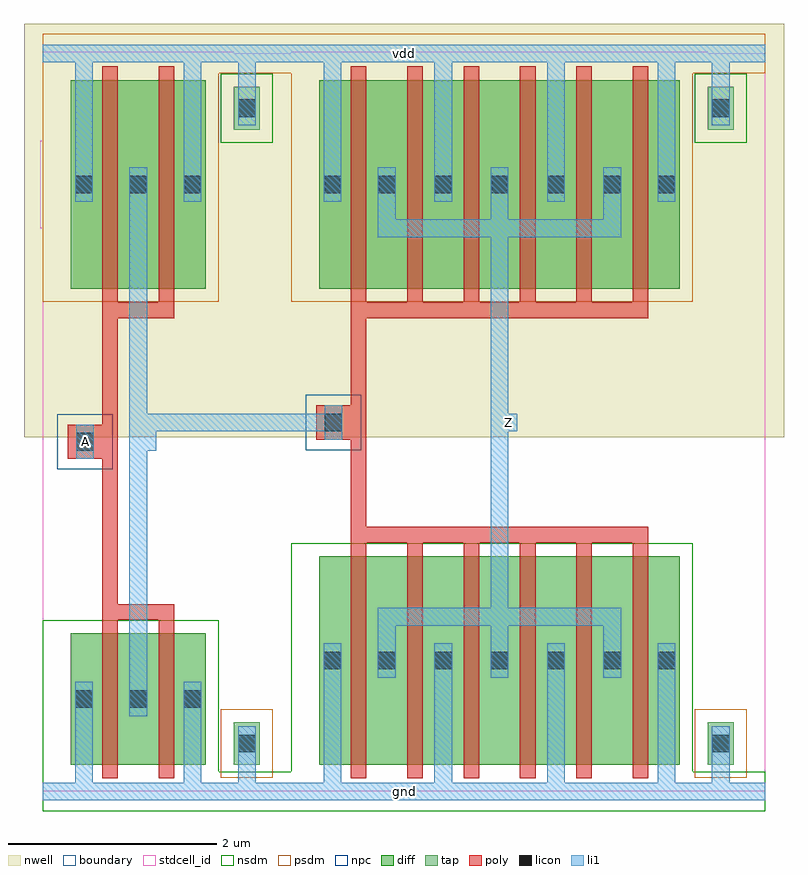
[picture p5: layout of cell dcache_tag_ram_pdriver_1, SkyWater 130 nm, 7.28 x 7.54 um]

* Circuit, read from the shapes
.subckt dcache_tag_ram_pdriver_1 A Z gnd vdd
XM1 dcache_tag_ram_pinv_10_1/A A gnd gnd sky130_fd_pr__nfet_01v8 w=1.26 l=0.15 m=2
XM2 Z dcache_tag_ram_pinv_10_1/A gnd gnd sky130_fd_pr__nfet_01v8 w=2 l=0.15 m=6
XM3 dcache_tag_ram_pinv_10_1/A A vdd vdd sky130_fd_pr__pfet_01v8 w=2 l=0.15 m=2
XM4 Z dcache_tag_ram_pinv_10_1/A vdd vdd sky130_fd_pr__pfet_01v8 w=2 l=0.15 m=6
.ends

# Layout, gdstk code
import gdstk
lib = gdstk.Library(unit=1e-6, precision=1e-09)
def R(c, l, rs):  # rectangles x0, y0, x1, y1
    for r in rs: c.add(gdstk.rectangle(r[:2], r[2:], *l))
def A(c, l, x, y, w, h, nx, ny, dx, dy):  # array of equal rectangles
    R(c, l, [(x+i*dx, y+j*dy, x+i*dx+w, y+j*dy+h) for i in range(nx) for j in range(ny)])
nwell = (64, 20)
diff = (65, 20)
tap = (65, 44)
poly = (66, 20)
licon = (66, 44)
li1 = (67, 20)
stdcell_id = (81, 4)
nsdm = (93, 44)
psdm = (94, 20)
npc = (95, 20)
boundary = (235, 4)

dcache_tag_ram_contact_1 = lib.new_cell('dcache_tag_ram_contact_11')
R(dcache_tag_ram_contact_1, nwell, [(-0.295,-0.255,0.545,0.585)])
R(dcache_tag_ram_contact_1, diff, [(0,0.02,0.25,0.31)])
R(dcache_tag_ram_contact_1, licon, [(0.04,0.08,0.21,0.25)])
R(dcache_tag_ram_contact_1, li1, [(0.04,0,0.21,0.33)])
R(dcache_tag_ram_contact_1, stdcell_id, [(-0.295,-0.255,0.545,0.585)])
R(dcache_tag_ram_contact_1, psdm, [(-0.125,-0.105,0.375,0.435)])
R(dcache_tag_ram_contact_1, boundary, [(-0.295,-0.255,0.545,0.585)])

dcache_tag_ram_pmos_m2_w = lib.new_cell('dcache_tag_ram_pmos_m2_w2_000_sli_dli_da_p')
R(dcache_tag_ram_pmos_m2_w, nwell, [(-0.27,-0.27,1.56,2.27)])
R(dcache_tag_ram_pmos_m2_w, diff, [(0,0,1.29,2)])
R(dcache_tag_ram_pmos_m2_w, poly, [(0.3,-0.28,0.99,-0.13), (0.3,-0.13,0.45,2.13), (0.84,-0.13,0.99,2.13)])
A(dcache_tag_ram_pmos_m2_w, li1, 0.04, 0.835, 0.17, 0.33, 3, 1, 0.52, 0)
R(dcache_tag_ram_pmos_m2_w, stdcell_id, [(-0.27,-0.28,1.56,2.27)])
R(dcache_tag_ram_pmos_m2_w, psdm, [(-0.125,-0.125,1.415,2.125)])
R(dcache_tag_ram_pmos_m2_w, boundary, [(-0.27,-0.28,1.56,2.27)])
dcache_tag_ram_pmos_m2_w.add(gdstk.Reference(dcache_tag_ram_contact_1, (0,0.835)))
dcache_tag_ram_pmos_m2_w.add(gdstk.Reference(dcache_tag_ram_contact_1, (0.52,0.835)))
dcache_tag_ram_pmos_m2_w.add(gdstk.Reference(dcache_tag_ram_contact_1, (1.04,0.835)))
dcache_tag_ram_pmos_m2_w.add(gdstk.Label('G', (0.645,-0.205), layer=66, texttype=5))
dcache_tag_ram_pmos_m2_w.add(gdstk.Label('S', (0.125,1), layer=67, texttype=5))
dcache_tag_ram_pmos_m2_w.add(gdstk.Label('S', (1.165,1), layer=67, texttype=5))
dcache_tag_ram_pmos_m2_w.add(gdstk.Label('D', (0.645,1), layer=67, texttype=5))

c_dcache_tag_ram_contact_1 = lib.new_cell('dcache_tag_ram_contact_10')
R(c_dcache_tag_ram_contact_1, diff, [(0,0.02,0.25,0.31)])
R(c_dcache_tag_ram_contact_1, licon, [(0.04,0.08,0.21,0.25)])
R(c_dcache_tag_ram_contact_1, li1, [(0.04,0,0.21,0.33)])
R(c_dcache_tag_ram_contact_1, stdcell_id, [(-0.125,-0.105,0.375,0.435)])
R(c_dcache_tag_ram_contact_1, nsdm, [(-0.125,-0.105,0.375,0.435)])
R(c_dcache_tag_ram_contact_1, boundary, [(-0.125,-0.105,0.375,0.435)])

dcache_tag_ram_nmos_m2_w = lib.new_cell('dcache_tag_ram_nmos_m2_w1_260_sli_dli_da_p')
R(dcache_tag_ram_nmos_m2_w, diff, [(0,0,1.29,1.26)])
R(dcache_tag_ram_nmos_m2_w, poly, [(0.3,-0.13,0.45,1.39), (0.84,-0.13,0.99,1.39), (0.3,1.39,0.99,1.54)])
A(dcache_tag_ram_nmos_m2_w, li1, 0.04, 0.465, 0.17, 0.33, 3, 1, 0.52, 0)
R(dcache_tag_ram_nmos_m2_w, stdcell_id, [(-0.125,-0.13,1.415,1.54)])
R(dcache_tag_ram_nmos_m2_w, nsdm, [(-0.125,-0.125,1.415,1.385)])
R(dcache_tag_ram_nmos_m2_w, boundary, [(-0.125,-0.13,1.415,1.54)])
dcache_tag_ram_nmos_m2_w.add(gdstk.Reference(c_dcache_tag_ram_contact_1, (0,0.465)))
dcache_tag_ram_nmos_m2_w.add(gdstk.Reference(c_dcache_tag_ram_contact_1, (0.52,0.465)))
dcache_tag_ram_nmos_m2_w.add(gdstk.Reference(c_dcache_tag_ram_contact_1, (1.04,0.465)))
dcache_tag_ram_nmos_m2_w.add(gdstk.Label('G', (0.645,1.465), layer=66, texttype=5))
dcache_tag_ram_nmos_m2_w.add(gdstk.Label('S', (1.165,0.63), layer=67, texttype=5))
dcache_tag_ram_nmos_m2_w.add(gdstk.Label('S', (0.125,0.63), layer=67, texttype=5))
dcache_tag_ram_nmos_m2_w.add(gdstk.Label('D', (0.645,0.63), layer=67, texttype=5))

dcache_tag_ram_contact_2 = lib.new_cell('dcache_tag_ram_contact_24')
R(dcache_tag_ram_contact_2, nwell, [(-0.295,-0.215,0.545,0.625)])
R(dcache_tag_ram_contact_2, tap, [(0,0,0.25,0.41)])
R(dcache_tag_ram_contact_2, licon, [(0.04,0.12,0.21,0.29)])
R(dcache_tag_ram_contact_2, li1, [(0.04,0.04,0.21,0.37)])
R(dcache_tag_ram_contact_2, stdcell_id, [(-0.295,-0.215,0.545,0.625)])
R(dcache_tag_ram_contact_2, nsdm, [(-0.125,-0.125,0.375,0.535)])
R(dcache_tag_ram_contact_2, boundary, [(-0.295,-0.215,0.545,0.625)])

c_dcache_tag_ram_contact_2 = lib.new_cell('dcache_tag_ram_contact_25')
R(c_dcache_tag_ram_contact_2, tap, [(0,0,0.25,0.41)])
R(c_dcache_tag_ram_contact_2, licon, [(0.04,0.12,0.21,0.29)])
R(c_dcache_tag_ram_contact_2, li1, [(0.04,0.04,0.21,0.37)])
R(c_dcache_tag_ram_contact_2, stdcell_id, [(-0.125,-0.125,0.375,0.535)])
R(c_dcache_tag_ram_contact_2, psdm, [(-0.125,-0.125,0.375,0.535)])
R(c_dcache_tag_ram_contact_2, boundary, [(-0.125,-0.125,0.375,0.535)])

c_dcache_tag_ram_contact_1_ = lib.new_cell('dcache_tag_ram_contact_15')
R(c_dcache_tag_ram_contact_1_, poly, [(0,0,0.33,0.33)])
R(c_dcache_tag_ram_contact_1_, licon, [(0.08,0.08,0.25,0.25)])
R(c_dcache_tag_ram_contact_1_, li1, [(0.08,0,0.25,0.33)])
R(c_dcache_tag_ram_contact_1_, stdcell_id, [(-0.1,-0.1,0.43,0.43)])
R(c_dcache_tag_ram_contact_1_, npc, [(-0.1,-0.1,0.43,0.43)])
R(c_dcache_tag_ram_contact_1_, boundary, [(-0.1,-0.1,0.43,0.43)])

dcache_tag_ram_pinv_9 = lib.new_cell('dcache_tag_ram_pinv_9')
R(dcache_tag_ram_pinv_9, nwell, [(-0.18,3.395,2.56,7.355)])
R(dcache_tag_ram_pinv_9, poly, [(0.57,1.795,0.72,4.535), (0.405,3.185,0.57,3.515)])
R(dcache_tag_ram_pinv_9, li1, [(0,-0.085,2.38,0.085), (0.31,-0.085,0.48,0.72), (1.35,-0.085,1.52,0.72), (1.87,0,2.04,0.46), (0.83,0.72,1,5.98), (0.32,3.185,0.49,3.515), (0.915,3.265,1.085,3.435), (0.31,5.65,0.48,7.155), (1.35,5.65,1.52,7.155), (1.87,6.545,2.04,7.07), (0,6.985,2.38,7.155)])
R(dcache_tag_ram_pinv_9, stdcell_id, [(0,0,2.38,7.07), (0,0,2.38,7.07)])
R(dcache_tag_ram_pinv_9, nsdm, [(0,-0.19,2.38,0.19), (0,0,1.685,1.64)])
R(dcache_tag_ram_pinv_9, psdm, [(0,4.69,1.685,7.07), (0,6.88,2.38,7.26)])
R(dcache_tag_ram_pinv_9, boundary, [(0,0,2.38,7.07), (0,0,2.38,7.07)])
dcache_tag_ram_pinv_9.add(gdstk.Reference(dcache_tag_ram_pmos_m2_w, (0.27,4.815)))
dcache_tag_ram_pinv_9.add(gdstk.Reference(dcache_tag_ram_nmos_m2_w, (0.27,0.255)))
dcache_tag_ram_pinv_9.add(gdstk.Reference(dcache_tag_ram_contact_2, (1.83,6.34)))
dcache_tag_ram_pinv_9.add(gdstk.Reference(c_dcache_tag_ram_contact_2, (1.83,0.255)))
dcache_tag_ram_pinv_9.add(gdstk.Reference(c_dcache_tag_ram_contact_1_, (0.24,3.185)))
dcache_tag_ram_pinv_9.add(gdstk.Label('A', (0.405,3.35), layer=67, texttype=5))
dcache_tag_ram_pinv_9.add(gdstk.Label('Z', (1,3.35), layer=67, texttype=5))
dcache_tag_ram_pinv_9.add(gdstk.Label('gnd', (1.19,0), layer=67, texttype=5))
dcache_tag_ram_pinv_9.add(gdstk.Label('vdd', (1.19,7.07), layer=67, texttype=5))

dcache_tag_ram_pmos_m6_w = lib.new_cell('dcache_tag_ram_pmos_m6_w2_000_sli_dli_da_p')
R(dcache_tag_ram_pmos_m6_w, nwell, [(-0.27,-0.27,3.72,2.27)])
R(dcache_tag_ram_pmos_m6_w, diff, [(0,0,3.45,2)])
A(dcache_tag_ram_pmos_m6_w, poly, 0.3, -0.13, 0.15, 2.26, 6, 1, 0.54, 0)
R(dcache_tag_ram_pmos_m6_w, poly, [(0.3,-0.28,3.15,-0.13)])
A(dcache_tag_ram_pmos_m6_w, li1, 0.56, 0.58, 0.17, 0.42, 3, 1, 1.08, 0)
R(dcache_tag_ram_pmos_m6_w, li1, [(0.56,0.495,2.89,0.665), (0.04,0.835,0.21,1.165), (1.1,0.835,1.27,1.165), (2.18,0.835,2.35,1.165), (3.24,0.835,3.41,1.165)])
R(dcache_tag_ram_pmos_m6_w, stdcell_id, [(-0.27,-0.28,3.72,2.27)])
R(dcache_tag_ram_pmos_m6_w, psdm, [(-0.125,-0.125,3.575,2.125)])
R(dcache_tag_ram_pmos_m6_w, boundary, [(-0.27,-0.28,3.72,2.27)])
dcache_tag_ram_pmos_m6_w.add(gdstk.Reference(dcache_tag_ram_contact_1, (0,0.835)))
dcache_tag_ram_pmos_m6_w.add(gdstk.Reference(dcache_tag_ram_contact_1, (0.52,0.835)))
dcache_tag_ram_pmos_m6_w.add(gdstk.Reference(dcache_tag_ram_contact_1, (1.06,0.835)))
dcache_tag_ram_pmos_m6_w.add(gdstk.Reference(dcache_tag_ram_contact_1, (1.6,0.835)))
dcache_tag_ram_pmos_m6_w.add(gdstk.Reference(dcache_tag_ram_contact_1, (2.14,0.835)))
dcache_tag_ram_pmos_m6_w.add(gdstk.Reference(dcache_tag_ram_contact_1, (2.68,0.835)))
dcache_tag_ram_pmos_m6_w.add(gdstk.Reference(dcache_tag_ram_contact_1, (3.2,0.835)))
dcache_tag_ram_pmos_m6_w.add(gdstk.Label('G', (1.725,-0.205), layer=66, texttype=5))
dcache_tag_ram_pmos_m6_w.add(gdstk.Label('S', (3.325,1), layer=67, texttype=5))
dcache_tag_ram_pmos_m6_w.add(gdstk.Label('S', (0.125,1), layer=67, texttype=5))
dcache_tag_ram_pmos_m6_w.add(gdstk.Label('S', (1.185,1), layer=67, texttype=5))
dcache_tag_ram_pmos_m6_w.add(gdstk.Label('S', (2.265,1), layer=67, texttype=5))
dcache_tag_ram_pmos_m6_w.add(gdstk.Label('D', (1.725,0.58), layer=67, texttype=5))

dcache_tag_ram_nmos_m6_w = lib.new_cell('dcache_tag_ram_nmos_m6_w2_000_sli_dli_da_p')
R(dcache_tag_ram_nmos_m6_w, diff, [(0,0,3.45,2)])
A(dcache_tag_ram_nmos_m6_w, poly, 0.3, -0.13, 0.15, 2.26, 6, 1, 0.54, 0)
R(dcache_tag_ram_nmos_m6_w, poly, [(0.3,2.13,3.15,2.28)])
A(dcache_tag_ram_nmos_m6_w, li1, 0.56, 1, 0.17, 0.42, 3, 1, 1.08, 0)
R(dcache_tag_ram_nmos_m6_w, li1, [(0.04,0.835,0.21,1.165), (1.1,0.835,1.27,1.165), (2.18,0.835,2.35,1.165), (3.24,0.835,3.41,1.165), (0.56,1.335,2.89,1.505)])
R(dcache_tag_ram_nmos_m6_w, stdcell_id, [(-0.125,-0.13,3.575,2.28)])
R(dcache_tag_ram_nmos_m6_w, nsdm, [(-0.125,-0.125,3.575,2.125)])
R(dcache_tag_ram_nmos_m6_w, boundary, [(-0.125,-0.13,3.575,2.28)])
dcache_tag_ram_nmos_m6_w.add(gdstk.Reference(c_dcache_tag_ram_contact_1, (0,0.835)))
dcache_tag_ram_nmos_m6_w.add(gdstk.Reference(c_dcache_tag_ram_contact_1, (0.52,0.835)))
dcache_tag_ram_nmos_m6_w.add(gdstk.Reference(c_dcache_tag_ram_contact_1, (1.06,0.835)))
dcache_tag_ram_nmos_m6_w.add(gdstk.Reference(c_dcache_tag_ram_contact_1, (1.6,0.835)))
dcache_tag_ram_nmos_m6_w.add(gdstk.Reference(c_dcache_tag_ram_contact_1, (2.14,0.835)))
dcache_tag_ram_nmos_m6_w.add(gdstk.Reference(c_dcache_tag_ram_contact_1, (2.68,0.835)))
dcache_tag_ram_nmos_m6_w.add(gdstk.Reference(c_dcache_tag_ram_contact_1, (3.2,0.835)))
dcache_tag_ram_nmos_m6_w.add(gdstk.Label('G', (1.725,2.205), layer=66, texttype=5))
dcache_tag_ram_nmos_m6_w.add(gdstk.Label('S', (3.325,1), layer=67, texttype=5))
dcache_tag_ram_nmos_m6_w.add(gdstk.Label('S', (0.125,1), layer=67, texttype=5))
dcache_tag_ram_nmos_m6_w.add(gdstk.Label('S', (1.185,1), layer=67, texttype=5))
dcache_tag_ram_nmos_m6_w.add(gdstk.Label('S', (2.265,1), layer=67, texttype=5))
dcache_tag_ram_nmos_m6_w.add(gdstk.Label('D', (1.725,1.42), layer=67, texttype=5))

dcache_tag_ram_pinv_10 = lib.new_cell('dcache_tag_ram_pinv_10')
R(dcache_tag_ram_pinv_10, nwell, [(-0.18,3.395,4.72,7.355)])
R(dcache_tag_ram_pinv_10, poly, [(0.57,2.535,0.72,4.535), (0.405,3.37,0.57,3.7)])
R(dcache_tag_ram_pinv_10, li1, [(0,-0.085,4.54,0.085), (0.31,-0.085,0.48,1.09), (1.37,-0.085,1.54,1.09), (2.45,-0.085,2.62,1.09), (3.51,-0.085,3.68,1.09), (4.03,0,4.2,0.46), (1.91,1.59,2.08,5.48), (0.32,3.37,0.49,3.7), (1.995,3.45,2.165,3.62), (0.31,5.65,0.48,7.155), (1.37,5.65,1.54,7.155), (2.45,5.65,2.62,7.155), (3.51,5.65,3.68,7.155), (4.03,6.545,4.2,7.07), (0,6.985,4.54,7.155)])
R(dcache_tag_ram_pinv_10, stdcell_id, [(0,0,4.54,7.07), (0,0,4.54,7.07)])
R(dcache_tag_ram_pinv_10, nsdm, [(0,-0.19,4.54,0.19), (0,0,3.845,2.38)])
R(dcache_tag_ram_pinv_10, psdm, [(0,4.69,3.845,7.07), (0,6.88,4.54,7.26)])
R(dcache_tag_ram_pinv_10, boundary, [(0,0,4.54,7.07), (0,0,4.54,7.07)])
dcache_tag_ram_pinv_10.add(gdstk.Reference(dcache_tag_ram_pmos_m6_w, (0.27,4.815)))
dcache_tag_ram_pinv_10.add(gdstk.Reference(dcache_tag_ram_nmos_m6_w, (0.27,0.255)))
dcache_tag_ram_pinv_10.add(gdstk.Reference(dcache_tag_ram_contact_2, (3.99,6.34)))
dcache_tag_ram_pinv_10.add(gdstk.Reference(c_dcache_tag_ram_contact_2, (3.99,0.255)))
dcache_tag_ram_pinv_10.add(gdstk.Reference(c_dcache_tag_ram_contact_1_, (0.24,3.37)))
dcache_tag_ram_pinv_10.add(gdstk.Label('A', (0.405,3.535), layer=67, texttype=5))
dcache_tag_ram_pinv_10.add(gdstk.Label('Z', (2.08,3.535), layer=67, texttype=5))
dcache_tag_ram_pinv_10.add(gdstk.Label('gnd', (2.27,0), layer=67, texttype=5))
dcache_tag_ram_pinv_10.add(gdstk.Label('vdd', (2.27,7.07), layer=67, texttype=5))

dcache_tag_ram_pdriver_1 = lib.new_cell('dcache_tag_ram_pdriver_1')
R(dcache_tag_ram_pdriver_1, nwell, [(-0.18,3.395,7.1,7.355)])
R(dcache_tag_ram_pdriver_1, li1, [(0,-0.085,6.92,0.085), (0.32,3.185,0.49,3.515), (0.915,3.35,1.085,3.535), (0.915,3.45,1.085,3.62), (1,3.45,2.785,3.62), (4.375,3.45,4.545,3.62), (0,6.985,6.92,7.155)])
R(dcache_tag_ram_pdriver_1, stdcell_id, [(0,0,6.92,7.07), (0,0,6.92,7.07)])
R(dcache_tag_ram_pdriver_1, nsdm, [(0,-0.19,6.92,0.19)])
R(dcache_tag_ram_pdriver_1, psdm, [(0,6.88,6.92,7.26)])
R(dcache_tag_ram_pdriver_1, boundary, [(0,0,6.92,7.07), (0,0,6.92,7.07)])
dcache_tag_ram_pdriver_1.add(gdstk.Reference(dcache_tag_ram_pinv_9, (0,0)))
dcache_tag_ram_pdriver_1.add(gdstk.Reference(dcache_tag_ram_pinv_10, (2.38,0)))
dcache_tag_ram_pdriver_1.add(gdstk.Label('Z', (4.46,3.535), layer=67, texttype=5))
dcache_tag_ram_pdriver_1.add(gdstk.Label('A', (0.405,3.35), layer=67, texttype=5))
dcache_tag_ram_pdriver_1.add(gdstk.Label('gnd', (3.46,0), layer=67, texttype=5))
dcache_tag_ram_pdriver_1.add(gdstk.Label('vdd', (3.46,7.07), layer=67, texttype=5))

lib.write_gds('dcache_tag_ram_pdriver_1.gds')
